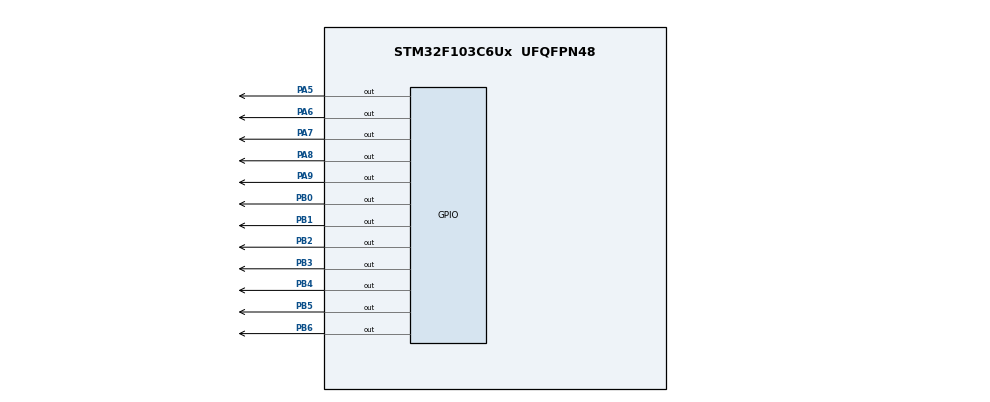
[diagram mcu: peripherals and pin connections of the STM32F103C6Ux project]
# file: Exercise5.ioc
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Mcu.Family=STM32F1
Mcu.Name=STM32F103C6Ux
Mcu.Package=UFQFPN48
NVIC.PriorityGroup=NVIC_PRIORITYGROUP_4
NVIC.TIM2_IRQn=true\:0\:0\:false\:false\:true\:true\:true
PA5.Signal=GPIO_Output
PA6.Signal=GPIO_Output
PA7.Signal=GPIO_Output
PA8.Signal=GPIO_Output
PA9.Signal=GPIO_Output
PB0.Signal=GPIO_Output
PB1.Signal=GPIO_Output
PB2.Signal=GPIO_Output
PB3.Signal=GPIO_Output
PB4.Signal=GPIO_Output
PB5.Signal=GPIO_Output
PB6.Signal=GPIO_Output
ProjectManager.HeapSize=0x200
ProjectManager.StackSize=0x400
ProjectManager.TargetToolchain=STM32CubeIDE
RCC.APB1Freq_Value=8000000
RCC.APB2Freq_Value=8000000
TIM2.Period=9
TIM2.Prescaler=7999
VP_SYS_VS_ND.Mode=No_Debug
VP_TIM2_VS_ClockSourceINT.Mode=Internal
board=custom

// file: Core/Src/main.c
/* USER CODE BEGIN Header */
/**
  ******************************************************************************
  * @file           : main.c
  * @brief          : Main program body
  ******************************************************************************
  * @attention
  *
  * <h2><center>&copy; Copyright (c) 2023 STMicroelectronics.
  * All rights reserved.</center></h2>
  *
  * This software component is licensed by ST under BSD 3-Clause license,
  * the "License"; You may not use this file except in compliance with the
  * License. You may obtain a copy of the License at:
  *                        opensource.org/licenses/BSD-3-Clause
  *
  ******************************************************************************
  */
/* USER CODE END Header */
#include "main.h"

TIM_HandleTypeDef htim2;

void SystemClock_Config(void);
static void MX_GPIO_Init(void);
static void MX_TIM2_Init(void);

int main(void)
{

  /* MCU Configuration--------------------------------------------------------*/

  /* Reset of all peripherals, Initializes the Flash interface and the Systick. */
  HAL_Init();

  /* Configure the system clock */
  SystemClock_Config();

  /* Initialize all configured peripherals */
  MX_GPIO_Init();
  MX_TIM2_Init();
  /* USER CODE BEGIN 2 */
  HAL_TIM_Base_Start_IT(&htim2);
  /* USER CODE END 2 */

  /* Infinite loop */
  /* USER CODE BEGIN WHILE */
  int hour = 15 , minute = 8 , second = 50;

  void display7SEG(int counter) {
  	unsigned char disp_arr[10] = {0x40, 0x79, 0x24, 0x30, 0x19, 0x12, 0x02, 0x78, 0x00, 0x10};
  	unsigned char bit_var, varr = disp_arr[counter];

  	bit_var = varr & 0x01; /* Den P1 */
  	HAL_GPIO_WritePin(GPIOB, GPIO_PIN_0, bit_var);

  	bit_var = (varr>>1) & 0x01; /* Den P2 */
  	HAL_GPIO_WritePin(GPIOB, GPIO_PIN_1, bit_var);

  	bit_var = (varr>>2) & 0x01; /* Den P3 */
  	HAL_GPIO_WritePin(GPIOB, GPIO_PIN_2, bit_var);

  	bit_var = (varr>>3) & 0x01; /* Den P4 */
  	HAL_GPIO_WritePin(GPIOB, GPIO_PIN_3, bit_var);

  	bit_var = (varr>>4) & 0x01; /* Den P5 */
  	HAL_GPIO_WritePin(GPIOB, GPIO_PIN_4, bit_var);

  	bit_var = (varr>>5) & 0x01; /* Den P6 */
  	HAL_GPIO_WritePin(GPIOB, GPIO_PIN_5, bit_var);

  	bit_var = (varr>>6) & 0x01; /* Den P7 */
  	HAL_GPIO_WritePin(GPIOB, GPIO_PIN_6, bit_var);
  }

  const int MAX_LED = 4;
  int index_led = 0;
  int led_buffer[4] = {0, 0, 0, 0};

  void update7SEG(int index){
  	index = index%4;
  	switch (index){
  	case 0:
  		HAL_GPIO_WritePin(GPIOA, GPIO_PIN_6, 0);
  		HAL_GPIO_WritePin(GPIOA, GPIO_PIN_7, 1);
  		HAL_GPIO_WritePin(GPIOA, GPIO_PIN_8, 1);
  		HAL_GPIO_WritePin(GPIOA, GPIO_PIN_9, 1);
  		break;
  	case 1:
  		HAL_GPIO_WritePin(GPIOA, GPIO_PIN_6, 1);
  		HAL_GPIO_WritePin(GPIOA, GPIO_PIN_7, 0);
  		HAL_GPIO_WritePin(GPIOA, GPIO_PIN_8, 1);
  		HAL_GPIO_WritePin(GPIOA, GPIO_PIN_9, 1);
  		break;
  	case 2:
  		HAL_GPIO_WritePin(GPIOA, GPIO_PIN_6, 1);
  		HAL_GPIO_WritePin(GPIOA, GPIO_PIN_7, 1);
  		HAL_GPIO_WritePin(GPIOA, GPIO_PIN_8, 0);
  		HAL_GPIO_WritePin(GPIOA, GPIO_PIN_9, 1);
  		break;
  	case 3:
  		HAL_GPIO_WritePin(GPIOA, GPIO_PIN_6, 1);
  		HAL_GPIO_WritePin(GPIOA, GPIO_PIN_7, 1);
  		HAL_GPIO_WritePin(GPIOA, GPIO_PIN_8, 1);
  		HAL_GPIO_WritePin(GPIOA, GPIO_PIN_9, 0);
  		break;
  	default:
  		break;
  	}
  	display7SEG(led_buffer[index]);
  }

  void updateClockBuffer(){
  	led_buffer[0] = hour/10;
  	led_buffer[1] = hour%10;
  	led_buffer[2] = minute/10;
  	led_buffer[3] = minute%10;
  	update7SEG(index_led++);
  }

  while (1)
  {
    /* USER CODE END WHILE */
	  second++;
	  if (second >= 60){
		  second = 0;
		  minute++;
	  }
	  if (minute >=60){
		  minute = 0;
		  hour++;
	  }
	  if (hour>=24){
		  hour = 0;
	  }
	  updateClockBuffer();
	  HAL_Delay(1000);
  }
}

void SystemClock_Config(void)
{
  RCC_OscInitTypeDef RCC_OscInitStruct = {0};
  RCC_ClkInitTypeDef RCC_ClkInitStruct = {0};

  /** Initializes the RCC Oscillators according to the specified parameters
  * in the RCC_OscInitTypeDef structure.
  */
  RCC_OscInitStruct.OscillatorType = RCC_OSCILLATORTYPE_HSI;
  RCC_OscInitStruct.HSIState = RCC_HSI_ON;
  RCC_OscInitStruct.HSICalibrationValue = RCC_HSICALIBRATION_DEFAULT;
  RCC_OscInitStruct.PLL.PLLState = RCC_PLL_NONE;
  if (HAL_RCC_OscConfig(&RCC_OscInitStruct) != HAL_OK)
  {
    Error_Handler();
  }
  /** Initializes the CPU, AHB and APB buses clocks
  */
  RCC_ClkInitStruct.ClockType = RCC_CLOCKTYPE_HCLK|RCC_CLOCKTYPE_SYSCLK
                              |RCC_CLOCKTYPE_PCLK1|RCC_CLOCKTYPE_PCLK2;
  RCC_ClkInitStruct.SYSCLKSource = RCC_SYSCLKSOURCE_HSI;
  RCC_ClkInitStruct.AHBCLKDivider = RCC_SYSCLK_DIV1;
  RCC_ClkInitStruct.APB1CLKDivider = RCC_HCLK_DIV1;
  RCC_ClkInitStruct.APB2CLKDivider = RCC_HCLK_DIV1;

  if (HAL_RCC_ClockConfig(&RCC_ClkInitStruct, FLASH_LATENCY_0) != HAL_OK)
  {
    Error_Handler();
  }
}

static void MX_TIM2_Init(void)
{

  TIM_ClockConfigTypeDef sClockSourceConfig = {0};
  TIM_MasterConfigTypeDef sMasterConfig = {0};

  htim2.Instance = TIM2;
  htim2.Init.Prescaler = 7999;
  htim2.Init.CounterMode = TIM_COUNTERMODE_UP;
  htim2.Init.Period = 9;
  htim2.Init.ClockDivision = TIM_CLOCKDIVISION_DIV1;
  htim2.Init.AutoReloadPreload = TIM_AUTORELOAD_PRELOAD_DISABLE;
  if (HAL_TIM_Base_Init(&htim2) != HAL_OK)
  {
    Error_Handler();
  }
  sClockSourceConfig.ClockSource = TIM_CLOCKSOURCE_INTERNAL;
  if (HAL_TIM_ConfigClockSource(&htim2, &sClockSourceConfig) != HAL_OK)
  {
    Error_Handler();
  }
  sMasterConfig.MasterOutputTrigger = TIM_TRGO_RESET;
  sMasterConfig.MasterSlaveMode = TIM_MASTERSLAVEMODE_DISABLE;
  if (HAL_TIMEx_MasterConfigSynchronization(&htim2, &sMasterConfig) != HAL_OK)
  {
    Error_Handler();
  }

}

static void MX_GPIO_Init(void)
{
  GPIO_InitTypeDef GPIO_InitStruct = {0};

  /* GPIO Ports Clock Enable */
  __HAL_RCC_GPIOA_CLK_ENABLE();
  __HAL_RCC_GPIOB_CLK_ENABLE();

  /*Configure GPIO pin Output Level */
  HAL_GPIO_WritePin(GPIOA, GPIO_PIN_5|GPIO_PIN_6|GPIO_PIN_7|GPIO_PIN_8
                          |GPIO_PIN_9, GPIO_PIN_RESET);

  /*Configure GPIO pin Output Level */
  HAL_GPIO_WritePin(GPIOB, GPIO_PIN_0|GPIO_PIN_1|GPIO_PIN_2|GPIO_PIN_3
                          |GPIO_PIN_4|GPIO_PIN_5|GPIO_PIN_6, GPIO_PIN_RESET);

  /*Configure GPIO pins : PA5 PA6 PA7 PA8
                           PA9 */
  GPIO_InitStruct.Pin = GPIO_PIN_5|GPIO_PIN_6|GPIO_PIN_7|GPIO_PIN_8
                          |GPIO_PIN_9;
  GPIO_InitStruct.Mode = GPIO_MODE_OUTPUT_PP;
  GPIO_InitStruct.Pull = GPIO_NOPULL;
  GPIO_InitStruct.Speed = GPIO_SPEED_FREQ_LOW;
  HAL_GPIO_Init(GPIOA, &GPIO_InitStruct);

  /*Configure GPIO pins : PB0 PB1 PB2 PB3
                           PB4 PB5 PB6 */
  GPIO_InitStruct.Pin = GPIO_PIN_0|GPIO_PIN_1|GPIO_PIN_2|GPIO_PIN_3
                          |GPIO_PIN_4|GPIO_PIN_5|GPIO_PIN_6;
  GPIO_InitStruct.Mode = GPIO_MODE_OUTPUT_PP;
  GPIO_InitStruct.Pull = GPIO_NOPULL;
  GPIO_InitStruct.Speed = GPIO_SPEED_FREQ_LOW;
  HAL_GPIO_Init(GPIOB, &GPIO_InitStruct);

}

void Error_Handler(void)
{
  __disable_irq();
  while (1)
  {
  }
}

/************************ (C) COPYRIGHT STMicroelectronics *****END OF FILE****/
